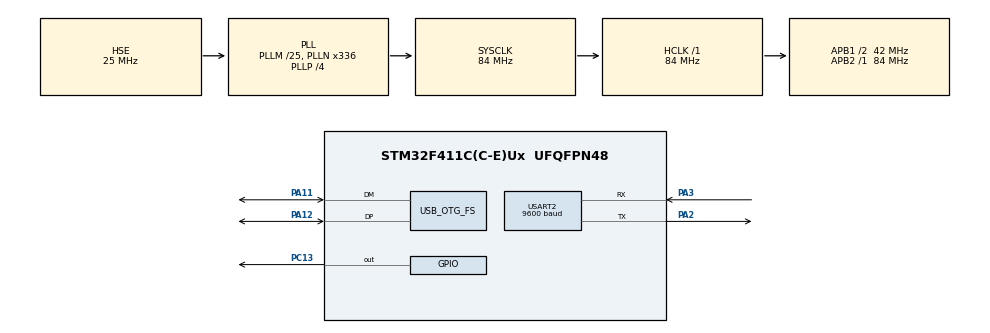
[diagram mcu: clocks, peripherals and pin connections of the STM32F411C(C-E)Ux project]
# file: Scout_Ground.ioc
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Mcu.Family=STM32F4
Mcu.Name=STM32F411C(C-E)Ux
Mcu.Package=UFQFPN48
NVIC.OTG_FS_IRQn=true\:0\:0\:false\:false\:true\:false\:true\:true
NVIC.PriorityGroup=NVIC_PRIORITYGROUP_4
NVIC.USART2_IRQn=true\:0\:0\:false\:false\:true\:true\:true\:true
PA11.Mode=Device_Only
PA11.Signal=USB_OTG_FS_DM
PA12.Mode=Device_Only
PA12.Signal=USB_OTG_FS_DP
PA13.Mode=Serial_Wire
PA13.Signal=SYS_JTMS-SWDIO
PA14.Mode=Serial_Wire
PA14.Signal=SYS_JTCK-SWCLK
PA2.Mode=Asynchronous
PA2.Signal=USART2_TX
PA3.Mode=Asynchronous
PA3.Signal=USART2_RX
PC13-ANTI_TAMP.Signal=GPIO_Output
PC14-OSC32_IN.Mode=LSE-External-Oscillator
PC14-OSC32_IN.Signal=RCC_OSC32_IN
PC15-OSC32_OUT.Mode=LSE-External-Oscillator
PC15-OSC32_OUT.Signal=RCC_OSC32_OUT
PH0\ -\ OSC_IN.Mode=HSE-External-Oscillator
PH0\ -\ OSC_IN.Signal=RCC_OSC_IN
PH1\ -\ OSC_OUT.Mode=HSE-External-Oscillator
PH1\ -\ OSC_OUT.Signal=RCC_OSC_OUT
ProjectManager.HeapSize=0x200
ProjectManager.StackSize=0x400
ProjectManager.TargetToolchain=STM32CubeIDE
RCC.48MHZClocksFreq_Value=48000000
RCC.AHBFreq_Value=84000000
RCC.APB1CLKDivider=RCC_HCLK_DIV2
RCC.APB1Freq_Value=42000000
RCC.APB1TimFreq_Value=84000000
RCC.APB2Freq_Value=84000000
RCC.APB2TimFreq_Value=84000000
RCC.CortexFreq_Value=84000000
RCC.HCLKFreq_Value=84000000
RCC.HSE_VALUE=25000000
RCC.HSI_VALUE=16000000
RCC.PLLM=25
RCC.PLLN=336
RCC.PLLP=RCC_PLLP_DIV4
RCC.PLLQ=7
RCC.SYSCLKFreq_VALUE=84000000
RCC.SYSCLKSource=RCC_SYSCLKSOURCE_PLLCLK
RCC.VCOOutputFreq_Value=336000000
USART2.BaudRate=9600
USART2.VirtualMode=VM_ASYNC
USB_DEVICE.CLASS_NAME_FS=CDC
USB_DEVICE.VirtualMode=Cdc
USB_DEVICE.VirtualModeFS=Cdc_FS
USB_OTG_FS.VirtualMode=Device_Only
VP_USB_DEVICE_VS_USB_DEVICE_CDC_FS.Mode=CDC_FS
board=custom

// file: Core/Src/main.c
/* USER CODE BEGIN Header */
/**
  ******************************************************************************
  * @file           : main.c
  * @brief          : Main program body
  ******************************************************************************
  * @attention
  *
  * Copyright (c) 2024 STMicroelectronics.
  * All rights reserved.
  *
  * This software is licensed under terms that can be found in the LICENSE file
  * in the root directory of this software component.
  * If no LICENSE file comes with this software, it is provided AS-IS.
  *
  ******************************************************************************
  */
/* USER CODE END Header */
#include "main.h"
#include "usb_device.h"

/* USER CODE BEGIN PTD */
#define MaxBufferSize	19
#define TxBufferSize	73+3

/* USER CODE END PTD */

/* USER CODE BEGIN PD */

union{
	float f;
	uint8_t b[4];

}converter;

uint8_t Rx_Buff[30]={0};
uint8_t test[23]={0};
uint8_t Rx;
uint8_t Tx_Buff [TxBufferSize];
int Rx_counter =0;
int test_flag=0;

float GPS_Enlem =0 , GPS_Boylam= 0,  GPS_yukseklik=0;
float Yaw_Data=0 , pitch_Data =0 , Roll_Data=0;

uint8_t ADH =0,
		ADL =0,
		CHN =0;

/************** PIF PARAMETRELERINI BURDAN GUNCELLE *****************************/
float roll_in_kd = 0.15 , roll_in_kp = 2 , roll_in_ki = 0.3,

	  roll_out_kd = 4.5 , roll_out_kp = 15 , roll_out_ki = 3.5,

      pitch_in_kd = 0.15 , pitch_in_kp = 2 , pitch_in_ki = 0.3 ,

	  pitch_out_kd = 4.5 , pitch_out_kp = 15.0 , pitch_out_ki = 3.5 ,

	  yaw_heading_kd = 15.0  , yaw_heading_kp  = 30.0 , yaw_heading_ki = 0.0001 ,

	  yaw_rate_kd = 0.05, yaw_rate_kp = 4 , yaw_rate_ki = 0.0;

/************** *************************************** *****************************/

uint8_t timer_1s_flag =0, new_data_flag = 0;;

uint8_t End_Command[3] = {0xFF, 0xFF, 0xFF};

uint8_t buffer[] = "DIGIDIK \n";

char GPS_Enlem1[33];
char GPS_Boylam1[33];
char Yaw_Data1[33];
char Roll_Data1[33];
char pitch_Data1[33];
char GPS_yukseklik1[33];
char combinedBuffer[61];
/* USER CODE END PD */

UART_HandleTypeDef huart2;

/* USER CODE BEGIN PV */
void PID_CONFIG_SEND(void);
/* USER CODE END PV */

void SystemClock_Config(void);
static void MX_GPIO_Init(void);
static void MX_USART2_UART_Init(void);
/* USER CODE BEGIN PFP */
extern uint8_t CDC_Transmit_FS(uint8_t* Buf, uint16_t Len);

/* USER CODE END PFP */

/* USER CODE BEGIN 0 */

/* Interrupt ile gelen verinin alınması */
void HAL_UART_RxCpltCallback(UART_HandleTypeDef *huart){

	if(huart == &huart2)
		{

		 if ((Rx != '\n') && (Rx_counter < 30))
		 	 	 {
		            Rx_Buff[Rx_counter] = Rx;
		            Rx_counter++; }

		 else {
		            Rx=0;
		            Rx_counter = 0;
		            new_data_flag = 1;
		        }
	HAL_UART_Receive_IT(&huart2, &Rx, 1);
	//HAL_GPIO_TogglePin(GPIOC, GPIO_PIN_13);
	}

}

/* USER CODE END 0 */

int main(void)
{

  /* MCU Configuration--------------------------------------------------------*/

  /* Reset of all peripherals, Initializes the Flash interface and the Systick. */
  HAL_Init();

  /* Configure the system clock */
  SystemClock_Config();

  /* Initialize all configured peripherals */
  MX_GPIO_Init();
  MX_USART2_UART_Init();
  MX_USB_DEVICE_Init();
  /* USER CODE BEGIN 2 */

  HAL_UART_Receive_IT(&huart2, &Rx, 1);

//  HAL_UART_Receive_IT(&huart2, Rx_Buff, 1);
//  HAL_UART_Receive_IT(&huart1, (uint8_t *)&Rx_data, 1);

  PID_CONFIG_SEND();
  /* USER CODE END 2 */

  /* Infinite loop */
  while (1)
  {

  	  converter.b[0]= Rx_Buff[0];
 	  converter.b[1]= Rx_Buff[1];
 	  converter.b[2]= Rx_Buff[2];
 	  converter.b[3]= Rx_Buff[3];

 	 Yaw_Data = converter.f;

 	  converter.b[0]= Rx_Buff[4];
 	  converter.b[1]= Rx_Buff[5];
 	  converter.b[2]= Rx_Buff[6];
 	  converter.b[3]= Rx_Buff[7];

 	 Roll_Data = converter.f;

 	  converter.b[0]= Rx_Buff[8];
 	  converter.b[1]= Rx_Buff[9];
 	  converter.b[2]= Rx_Buff[10];
 	  converter.b[3]= Rx_Buff[11];

 	 pitch_Data= converter.f;

 	  converter.b[0]= Rx_Buff[12];
 	  converter.b[1]= Rx_Buff[13];
 	  converter.b[2]= Rx_Buff[14];
 	  converter.b[3]= Rx_Buff[15];

 	  GPS_Enlem= converter.f;

 	  converter.b[0]= Rx_Buff[16];
 	  converter.b[1]= Rx_Buff[17];
 	  converter.b[2]= Rx_Buff[18];
 	  converter.b[3]= Rx_Buff[19];

 	  GPS_Boylam = converter.f;

 	  converter.b[0]= Rx_Buff[20];
 	  converter.b[1]= Rx_Buff[21];
 	  converter.b[2]= Rx_Buff[22];
 	  converter.b[3]= Rx_Buff[23];

 	  GPS_yukseklik = converter.f+110;

     snprintf(Yaw_Data1, sizeof(Yaw_Data1), "%f", Yaw_Data);
     snprintf(Roll_Data1, sizeof(Roll_Data1), "%f", Roll_Data);
     snprintf(pitch_Data1, sizeof(pitch_Data1), "%f", pitch_Data);
     snprintf(GPS_Enlem1, sizeof(GPS_Boylam1), "%f", GPS_Enlem);
     snprintf(GPS_Boylam1, sizeof(GPS_Boylam1), "%f", GPS_Boylam);
     snprintf(GPS_yukseklik1, sizeof(GPS_yukseklik1), "%f", GPS_yukseklik);

/*
     GPS_Enlem1[33]='|';
     GPS_Boylam1[33]='|';
     Yaw_Data1[33]='|';
     Roll_Data1[33]='|';
     pitch_Data1[33]='|';*/

     snprintf(combinedBuffer, sizeof(combinedBuffer), "%s,%s,%s,%s,%s,%s",
    		 Yaw_Data1,Roll_Data1, pitch_Data1, GPS_Enlem1, GPS_Boylam1,  GPS_yukseklik1);
     combinedBuffer[60]='\n';
     CDC_Transmit_FS(combinedBuffer,sizeof(combinedBuffer));
     //HAL_Delay(500);
     /*
     CDC_Transmit_FS(GPS_Enlem1,sizeof(GPS_Enlem1));
	 HAL_Delay(500);

	 CDC_Transmit_FS(GPS_Boylam1,sizeof(GPS_Boylam1));
	 HAL_Delay(500);

	 CDC_Transmit_FS(Yaw_Data1,sizeof(Yaw_Data1));
	 HAL_Delay(500);

	 CDC_Transmit_FS(Roll_Data1,sizeof(Roll_Data1));
	 HAL_Delay(500);

	 CDC_Transmit_FS(pitch_Data1,sizeof(pitch_Data1));

*/

  }
}

void SystemClock_Config(void)
{
  RCC_OscInitTypeDef RCC_OscInitStruct = {0};
  RCC_ClkInitTypeDef RCC_ClkInitStruct = {0};

  /** Configure the main internal regulator output voltage
  */
  __HAL_RCC_PWR_CLK_ENABLE();
  __HAL_PWR_VOLTAGESCALING_CONFIG(PWR_REGULATOR_VOLTAGE_SCALE1);

  /** Initializes the RCC Oscillators according to the specified parameters
  * in the RCC_OscInitTypeDef structure.
  */
  RCC_OscInitStruct.OscillatorType = RCC_OSCILLATORTYPE_HSE;
  RCC_OscInitStruct.HSEState = RCC_HSE_ON;
  RCC_OscInitStruct.PLL.PLLState = RCC_PLL_ON;
  RCC_OscInitStruct.PLL.PLLSource = RCC_PLLSOURCE_HSE;
  RCC_OscInitStruct.PLL.PLLM = 25;
  RCC_OscInitStruct.PLL.PLLN = 336;
  RCC_OscInitStruct.PLL.PLLP = RCC_PLLP_DIV4;
  RCC_OscInitStruct.PLL.PLLQ = 7;
  if (HAL_RCC_OscConfig(&RCC_OscInitStruct) != HAL_OK)
  {
    Error_Handler();
  }

  /** Initializes the CPU, AHB and APB buses clocks
  */
  RCC_ClkInitStruct.ClockType = RCC_CLOCKTYPE_HCLK|RCC_CLOCKTYPE_SYSCLK
                              |RCC_CLOCKTYPE_PCLK1|RCC_CLOCKTYPE_PCLK2;
  RCC_ClkInitStruct.SYSCLKSource = RCC_SYSCLKSOURCE_PLLCLK;
  RCC_ClkInitStruct.AHBCLKDivider = RCC_SYSCLK_DIV1;
  RCC_ClkInitStruct.APB1CLKDivider = RCC_HCLK_DIV2;
  RCC_ClkInitStruct.APB2CLKDivider = RCC_HCLK_DIV1;

  if (HAL_RCC_ClockConfig(&RCC_ClkInitStruct, FLASH_LATENCY_2) != HAL_OK)
  {
    Error_Handler();
  }
}

static void MX_USART2_UART_Init(void)
{

  huart2.Instance = USART2;
  huart2.Init.BaudRate = 9600;
  huart2.Init.WordLength = UART_WORDLENGTH_8B;
  huart2.Init.StopBits = UART_STOPBITS_1;
  huart2.Init.Parity = UART_PARITY_NONE;
  huart2.Init.Mode = UART_MODE_TX_RX;
  huart2.Init.HwFlowCtl = UART_HWCONTROL_NONE;
  huart2.Init.OverSampling = UART_OVERSAMPLING_16;
  if (HAL_UART_Init(&huart2) != HAL_OK)
  {
    Error_Handler();
  }

}

static void MX_GPIO_Init(void)
{
  GPIO_InitTypeDef GPIO_InitStruct = {0};

  /* GPIO Ports Clock Enable */
  __HAL_RCC_GPIOC_CLK_ENABLE();
  __HAL_RCC_GPIOH_CLK_ENABLE();
  __HAL_RCC_GPIOA_CLK_ENABLE();

  /*Configure GPIO pin Output Level */
  HAL_GPIO_WritePin(GPIOC, GPIO_PIN_13, GPIO_PIN_RESET);

  /*Configure GPIO pin : PC13 */
  GPIO_InitStruct.Pin = GPIO_PIN_13;
  GPIO_InitStruct.Mode = GPIO_MODE_OUTPUT_PP;
  GPIO_InitStruct.Pull = GPIO_NOPULL;
  GPIO_InitStruct.Speed = GPIO_SPEED_FREQ_LOW;
  HAL_GPIO_Init(GPIOC, &GPIO_InitStruct);

}

/* USER CODE BEGIN 4 */
void PID_CONFIG_SEND(void)
{
	 Tx_Buff[0] = ADL;
	 Tx_Buff[1] = ADH;
	 Tx_Buff[2] = CHN;

	 converter.f =roll_in_kd ;
	 Tx_Buff[3]=converter.b[0];
	 Tx_Buff[4]=converter.b[1];
	 Tx_Buff[5]=converter.b[2];
	 Tx_Buff[6]=converter.b[3];

	 converter.f =roll_in_ki ;
	 Tx_Buff[7]=converter.b[0];
	 Tx_Buff[8]=converter.b[1];
	 Tx_Buff[9]=converter.b[2];
	 Tx_Buff[10]=converter.b[3];

	 converter.f =roll_in_kp ;
	 Tx_Buff[11]=converter.b[0];
	 Tx_Buff[12]=converter.b[1];
	 Tx_Buff[13]=converter.b[2];
	 Tx_Buff[14]=converter.b[3];

	 converter.f =roll_out_kd ;
	 Tx_Buff[15]=converter.b[0];
	 Tx_Buff[16]=converter.b[1];
	 Tx_Buff[17]=converter.b[2];
	 Tx_Buff[18]=converter.b[3];

	 converter.f = roll_out_ki;
	 Tx_Buff[19]=converter.b[0];
	 Tx_Buff[20]=converter.b[1];
	 Tx_Buff[21]=converter.b[2];
	 Tx_Buff[22]=converter.b[3];

	 converter.f = roll_out_kp;
	 Tx_Buff[23]=converter.b[0];
	 Tx_Buff[24]=converter.b[1];
	 Tx_Buff[25]=converter.b[2];
	 Tx_Buff[26]=converter.b[3];

	 converter.f = pitch_in_kd;
	 Tx_Buff[27]=converter.b[0];
	 Tx_Buff[28]=converter.b[1];
	 Tx_Buff[29]=converter.b[2];
	 Tx_Buff[30]=converter.b[3];

	 converter.f = pitch_in_ki;
	 Tx_Buff[31]=converter.b[0];
	 Tx_Buff[32]=converter.b[1];
	 Tx_Buff[33]=converter.b[2];
	 Tx_Buff[34]=converter.b[3];

	 converter.f = pitch_in_kp;
	 Tx_Buff[35]=converter.b[0];
	 Tx_Buff[36]=converter.b[1];
	 Tx_Buff[37]=converter.b[2];
	 Tx_Buff[38]=converter.b[3];

	 converter.f = pitch_out_kd;
	 Tx_Buff[39]=converter.b[0];
	 Tx_Buff[40]=converter.b[1];
	 Tx_Buff[41]=converter.b[2];
	 Tx_Buff[42]=converter.b[3];

	 converter.f = pitch_out_ki;
	 Tx_Buff[43]=converter.b[0];
	 Tx_Buff[44]=converter.b[1];
	 Tx_Buff[45]=converter.b[2];
	 Tx_Buff[46]=converter.b[3];

	 converter.f = pitch_out_kp;
	 Tx_Buff[47]=converter.b[0];
	 Tx_Buff[48]=converter.b[1];
	 Tx_Buff[49]=converter.b[2];
	 Tx_Buff[50]=converter.b[3];

	 converter.f = yaw_heading_kd;
	 Tx_Buff[51]=converter.b[0];
	 Tx_Buff[52]=converter.b[1];
	 Tx_Buff[53]=converter.b[2];
	 Tx_Buff[54]=converter.b[3];

	 converter.f = yaw_heading_ki;
	 Tx_Buff[55]=converter.b[0];
	 Tx_Buff[56]=converter.b[1];
	 Tx_Buff[57]=converter.b[2];
	 Tx_Buff[58]=converter.b[3];

	 converter.f = yaw_heading_kp;
	 Tx_Buff[59]=converter.b[0];
	 Tx_Buff[60]=converter.b[1];
	 Tx_Buff[61]=converter.b[2];
	 Tx_Buff[62]=converter.b[3];

	 converter.f = yaw_rate_kd;
	 Tx_Buff[63]=converter.b[0];
	 Tx_Buff[64]=converter.b[1];
	 Tx_Buff[65]=converter.b[2];
	 Tx_Buff[66]=converter.b[3];

	 converter.f = yaw_rate_ki;
	 Tx_Buff[67]=converter.b[0];
	 Tx_Buff[68]=converter.b[1];
	 Tx_Buff[69]=converter.b[2];
	 Tx_Buff[70]=converter.b[3];

	 converter.f = yaw_rate_kp;
	 Tx_Buff[71]=converter.b[0];
	 Tx_Buff[72]=converter.b[1];
	 Tx_Buff[73]=converter.b[2];
	 Tx_Buff[74]=converter.b[3];

	 Tx_Buff[75]='\n';

	 HAL_UART_Transmit(&huart2, Tx_Buff, 76, 1000);
}

/* USER CODE END 4 */

void Error_Handler(void)
{
  __disable_irq();
  while (1)
  {
  }
}
